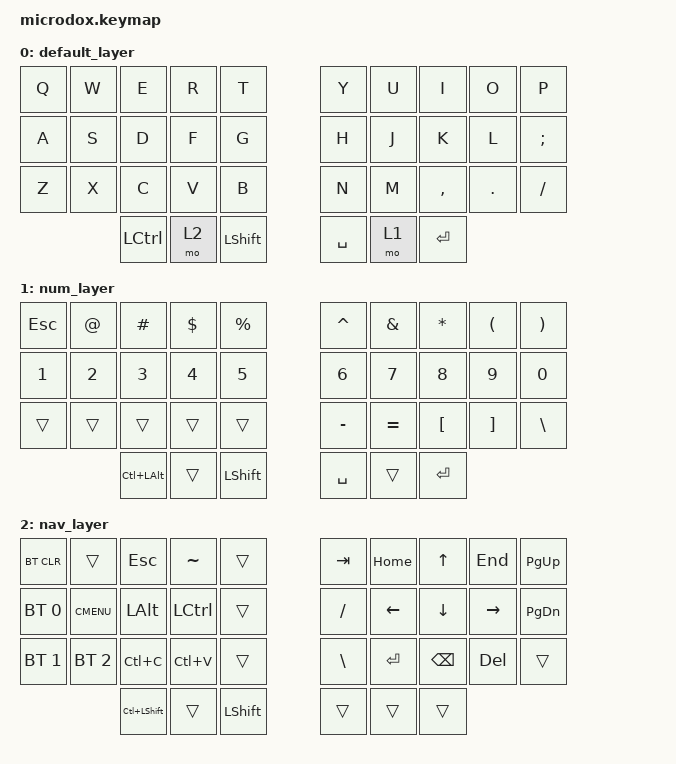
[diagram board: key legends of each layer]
/*
 * Copyright (c) 2020 The ZMK Contributors
 *
 * SPDX-License-Identifier: MIT
 */

#include <behaviors.dtsi>
#include <dt-bindings/zmk/bt.h>
#include <dt-bindings/zmk/keys.h>

/ {
    keymap {
        compatible = "zmk,keymap";

        default_layer {
            // -----------------------------------------------------------------------------------------
            // |  Q  |  W  |  E  |  R  |  T   |   |  Y  |  U   |  I  |  O  |  P  |
            // |  A  |  S  |  D  |  F  |  G   |   |  H  |  J   |  K  |  L  |  ;  |
            // |  Z  |  X  |  C  |  V  |  B   |   |  N  |  M   |  ,  |  .  |  /  |
            //             | GUI | NAV | SHFT |   | SPC | SYM  | ALT |

            bindings = <
&kp Q  &kp W  &kp E      &kp R  &kp T        &kp Y      &kp U  &kp I      &kp O    &kp P
&kp A  &kp S  &kp D      &kp F  &kp G        &kp H      &kp J  &kp K      &kp L    &kp SEMI
&kp Z  &kp X  &kp C      &kp V  &kp B        &kp N      &kp M  &kp COMMA  &kp DOT  &kp FSLH
              &kp LCTRL  &mo 2  &kp LSHFT    &kp SPACE  &mo 1  &kp ENTER
            >;
        };

        num_layer {
            // -----------------------------------------------------------------------------------------
            // |  !  |  @  |  #  |  $  |  %  |   |  ^  |  &  |  *  |  (  |  )  |
            // |     |     |     |     |     |   |  -  |  =  |  {  |  }  | "|" |
            // |     |     |     |     |     |   |  _  |  +  |  [  |  ]  |  \  |
            //             | GUI |     | SPC |   | ENT |     | ALT |

            bindings = <
&kp ESC  &kp AT  &kp HASH          &kp DLLR      &kp PRCNT         &kp CARET  &kp AMPS   &kp ASTRK  &kp LPAR  &kp RPAR
&kp N1   &kp N2  &kp N3            &kp NUMBER_4  &kp N5            &kp N6     &kp N7     &kp N8     &kp N9    &kp N0
&trans   &trans  &trans            &trans        &trans            &kp MINUS  &kp EQUAL  &kp LBKT   &kp RBKT  &kp BSLH
                 &kp LC(LEFT_ALT)  &trans        &kp LEFT_SHIFT    &kp SPACE  &trans     &kp ENTER
            >;
        };

        nav_layer {
            // -----------------------------------------------------------------------------------------
            // |BTCLR|     | ESC |  ~   |     |   | TAB | HOME |  UP  | END | DEL  |
            // | BT1 | GUI | ALT | CTRL | NUM |   |  /  | LEFT | DOWN | RGT | BKSP |
            // | BT2 |     |     |      |     |   |  \  | ENT  |      |     |      |
            //             |     |      |     |   |     |      |      |

            bindings = <
&bt BT_CLR    &trans        &kp ESC             &kp TILDE  &trans            &kp TAB   &kp HOME  &kp UP         &kp END    &kp PAGE_UP
&bt BT_SEL 0  &kp K_CMENU   &kp LALT            &kp LCTRL  &trans            &kp FSLH  &kp LEFT  &kp DOWN       &kp RIGHT  &kp PG_DN
&bt BT_SEL 1  &bt BT_SEL 2  &kp LC(C)           &kp LC(V)  &trans            &kp BSLH  &kp RET   &kp BACKSPACE  &kp DEL    &trans
                            &kp LC(LEFT_SHIFT)  &trans     &kp LEFT_SHIFT    &trans    &trans    &trans
            >;
        };

        // This layer is unreachable until "tri layer state" is sorted out.
        // Leaving it here for completeness.
    };
};
